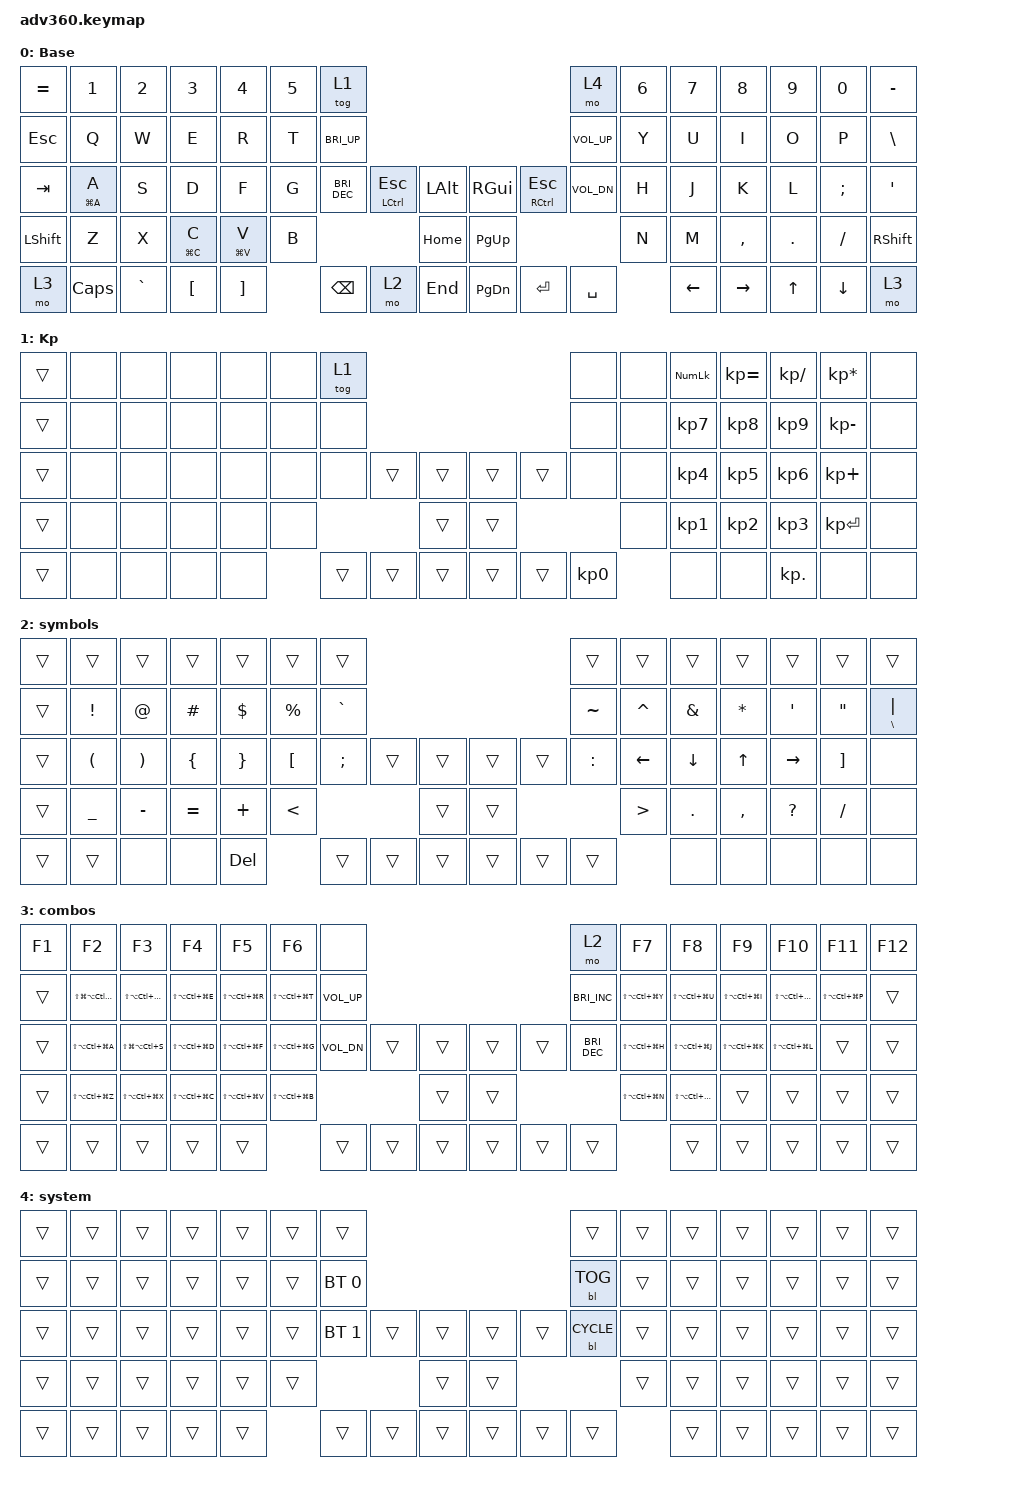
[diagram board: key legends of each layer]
#include <dt-bindings/zmk/stp.h>
#include <behaviors.dtsi>
#include <dt-bindings/zmk/backlight.h>
#include <dt-bindings/zmk/bt.h>
#include <dt-bindings/zmk/keys.h>

&mt { tapping-term-ms = <400>; };

/ {
    behaviors {
        #include "macros.dtsi"
      #include "version.dtsi"

        hm: homerow_mods {
            compatible = "zmk,behavior-hold-tap";
            label = "HOMEROW_MODS";
            #binding-cells = <2>;
            tapping-term-ms = <400>;
            quick_tap_ms = <175>;
            flavor = "tap-preferred";
            bindings = <&kp>, <&kp>;
        };
    };

    keymap {
        compatible = "zmk,keymap";

        main {
            display-name = "Base";
            bindings = <
&kp EQUAL   &kp NUMBER_1  &kp NUMBER_2  &kp N3            &kp N4             &kp N5  &tog 1                                                                                        &mo 4         &kp N6  &kp N7          &kp N8           &kp N9      &kp N0          &kp MINUS
&kp ESCAPE  &kp Q         &kp W         &kp E             &kp R              &kp T   &kp C_BRI_UP                                                                                  &kp C_VOL_UP  &kp Y   &kp U           &kp I            &kp O       &kp P           &kp BACKSLASH
&kp TAB     &hm LG(A) A   &kp S         &kp D             &kp F              &kp G   &kp C_BRIGHTNESS_DEC  &mt LEFT_CONTROL ESCAPE  &kp LALT      &kp RGUI       &mt RCTRL ESCAPE  &kp C_VOL_DN  &kp H   &kp J           &kp K            &kp L       &kp SEMICOLON   &kp SQT
&kp LSHFT   &kp Z         &kp X         &hm LG(C) C       &hm LG(V) V        &kp B                                                  &kp HOME      &kp PAGE_UP                                    &kp N   &kp M           &kp COMMA        &kp PERIOD  &kp SLASH       &kp RSHFT
&mo 3       &kp CAPSLOCK  &kp GRAVE     &kp LEFT_BRACKET  &kp RIGHT_BRACKET          &kp BSPC              &mo 2                    &kp END       &kp PAGE_DOWN  &kp ENTER         &kp SPACE             &kp LEFT_ARROW  &kp RIGHT_ARROW  &kp UP      &kp DOWN_ARROW  &mo 3
            >;
        };

        keypad {
            display-name = "Kp";
            bindings = <
&trans  &none  &none  &none  &none  &none  &tog 1                                      &none            &none  &kp KP_NUM  &kp KP_EQUAL  &kp KP_DIVIDE  &kp KP_MULTIPLY  &none
&trans  &none  &none  &none  &none  &none  &none                                       &none            &none  &kp KP_N7   &kp KP_N8     &kp KP_N9      &kp KP_MINUS     &none
&trans  &none  &none  &none  &none  &none  &none   &trans  &trans      &trans  &trans  &none            &none  &kp KP_N4   &kp KP_N5     &kp KP_N6      &kp KP_PLUS      &none
&trans  &none  &none  &none  &none  &none                  &trans      &trans                           &none  &kp KP_N1   &kp KP_N2     &kp KP_N3      &kp KP_ENTER     &none
&trans  &none  &none  &none  &none         &trans  &trans  &trans      &trans  &trans  &kp KP_NUMBER_0         &none       &none         &kp KP_DOT     &none            &none
            >;
        };

        symbols {
            bindings = <
&trans  &trans                &trans                 &trans          &trans           &trans            &trans                                         &trans     &trans            &trans          &trans        &trans            &trans             &trans
&trans  &kp EXCLAMATION       &kp AT_SIGN            &kp HASH        &kp DOLLAR       &kp PERCENT       &kp GRAVE                                      &kp TILDE  &kp CARET         &kp AMPERSAND   &kp ASTERISK  &kp SINGLE_QUOTE  &kp DOUBLE_QUOTES  &mt BACKSLASH PIPE
&trans  &kp LEFT_PARENTHESIS  &kp RIGHT_PARENTHESIS  &kp LEFT_BRACE  &kp RIGHT_BRACE  &kp LEFT_BRACKET  &kp SEMI   &trans  &trans      &trans  &trans  &kp COLON  &kp LEFT_ARROW    &kp DOWN_ARROW  &kp UP_ARROW  &kp RIGHT_ARROW   &kp RIGHT_BRACKET  &none
&trans  &kp UNDERSCORE        &kp MINUS              &kp EQUAL       &kp PLUS         &kp LESS_THAN                        &trans      &trans                     &kp GREATER_THAN  &kp PERIOD      &kp COMMA     &kp QUESTION      &kp SLASH          &none
&trans  &trans                &none                  &none           &kp DELETE                         &trans     &trans  &trans      &trans  &trans  &trans                       &none           &none         &none             &none              &none
            >;
        };

        fn {
            display-name = "combos";
            bindings = <
&kp F1  &kp F2                 &kp F3                 &kp F4                 &kp F5                 &kp F6                 &none                                                &mo 2                 &kp F7                 &kp F8                 &kp F9                 &kp F10                &kp F11                &kp F12
&trans  &kp LS(LG(LA(LC(Q))))  &kp LS(LA(LC(LG(W))))  &kp LS(LA(LC(LG(E))))  &kp LS(LA(LC(LG(R))))  &kp LS(LA(LC(LG(T))))  &kp C_VOLUME_UP                                      &kp C_BRIGHTNESS_INC  &kp LS(LA(LC(LG(Y))))  &kp LS(LA(LC(LG(U))))  &kp LS(LA(LC(LG(I))))  &kp LS(LA(LC(LG(O))))  &kp LS(LA(LC(LG(P))))  &trans
&trans  &kp LS(LA(LC(LG(A))))  &kp LS(LG(LA(LC(S))))  &kp LS(LA(LC(LG(D))))  &kp LS(LA(LC(LG(F))))  &kp LS(LA(LC(LG(G))))  &kp C_VOL_DN     &trans  &trans      &trans  &trans  &kp C_BRIGHTNESS_DEC  &kp LS(LA(LC(LG(H))))  &kp LS(LA(LC(LG(J))))  &kp LS(LA(LC(LG(K))))  &kp LS(LA(LC(LG(L))))  &trans                 &trans
&trans  &kp LS(LA(LC(LG(Z))))  &kp LS(LA(LC(LG(X))))  &kp LS(LA(LC(LG(C))))  &kp LS(LA(LC(LG(V))))  &kp LS(LA(LC(LG(B))))                           &trans      &trans                                &kp LS(LA(LC(LG(N))))  &kp LS(LA(LC(LG(M))))  &trans                 &trans                 &trans                 &trans
&trans  &trans                 &trans                 &trans                 &trans                                        &trans           &trans  &trans      &trans  &trans  &trans                                       &trans                 &trans                 &trans                 &trans                 &trans
            >;
        };

        system {
            bindings = <
&trans  &trans  &trans  &trans  &trans  &trans  &trans                                            &trans        &trans  &trans  &trans  &trans  &trans  &trans
&trans  &trans  &trans  &trans  &trans  &trans  &bt BT_SEL 0                                      &bl BL_TOG    &trans  &trans  &trans  &trans  &trans  &trans
&trans  &trans  &trans  &trans  &trans  &trans  &bt BT_SEL 1  &trans  &trans      &trans  &trans  &bl BL_CYCLE  &trans  &trans  &trans  &trans  &trans  &trans
&trans  &trans  &trans  &trans  &trans  &trans                        &trans      &trans                        &trans  &trans  &trans  &trans  &trans  &trans
&trans  &trans  &trans  &trans  &trans          &trans        &trans  &trans      &trans  &trans  &trans                &trans  &trans  &trans  &trans  &trans
            >;
        };
    };
};
